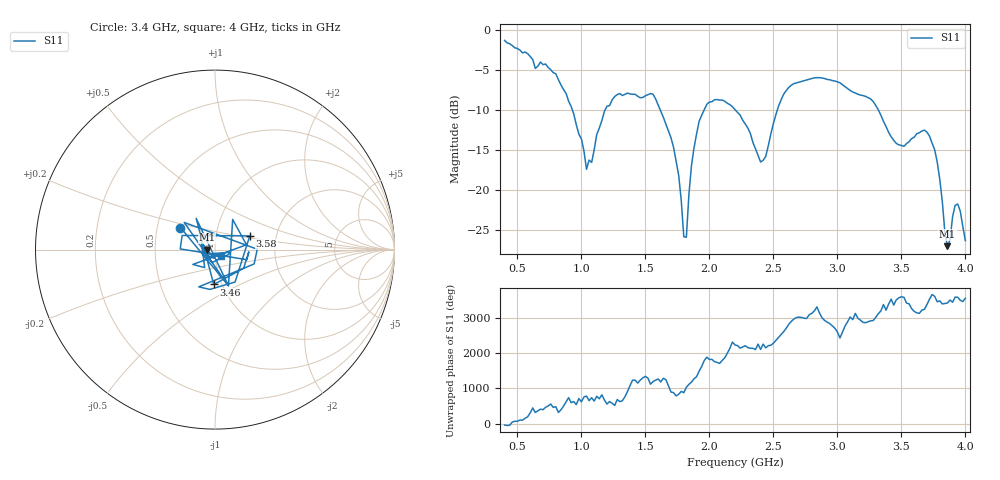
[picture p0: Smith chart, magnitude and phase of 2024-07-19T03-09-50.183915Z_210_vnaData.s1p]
!Created with skrf (http://scikit-rf.org).
# Hz S RI R 50.0
!freq ReS11 ImS11
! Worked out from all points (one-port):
!   181 points, 400 MHz to 4 GHz, reference 50 ohm
!   lowest |S11| = -27.1 dB at 3.86 GHz (marker M1), VSWR 1.09, Z = 45.8 - j0.0572 ohm
!   |S11| at or under -10 dB: 1.615 GHz to 1.961 GHz (345.7 MHz wide, 19.3 % of centre); 2.2 GHz to 2.532 GHz (331.7 MHz wide, 14 % of centre); 3.318 GHz to end of sweep (the widest 3 of 4)
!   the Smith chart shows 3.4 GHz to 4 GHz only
!   S11 on the Smith chart (normalised r, x): 3.4 GHz: 0.66, +0.17; 3.46 GHz: 0.92, -0.37; 3.58 GHz: 1.46, +0.23; 4 GHz: 1.07, -0.07
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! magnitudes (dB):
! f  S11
! 400 MHz  -1.4
! 860 MHz  -7.5
! 1.04 GHz  -17.5
! 1.18 GHz  -10.2
! 1.3 GHz  -8.0
! 1.56 GHz  -8.1
! 1.7 GHz  -13.5
! 1.76 GHz  -18.2
! 1.8 GHz  -25.9
! 1.82 GHz  -26.0
! 1.86 GHz  -17.0
! 1.92 GHz  -11.4
! 2.04 GHz  -8.8
! 2.2 GHz  -10.0
! 2.4 GHz  -16.5
! 2.56 GHz  -8.8
! 2.66 GHz  -6.8
! 3.1 GHz  -7.6
! 3.28 GHz  -9.0
! 3.4 GHz  -12.8
! 3.46 GHz  -14.2
! 3.56 GHz  -14.0
! 3.58 GHz  -13.6
! 3.68 GHz  -12.6
! 3.76 GHz  -15.0
! 3.86 GHz  -27.1
! 3.94 GHz  -21.8
! 4 GHz  -26.4
